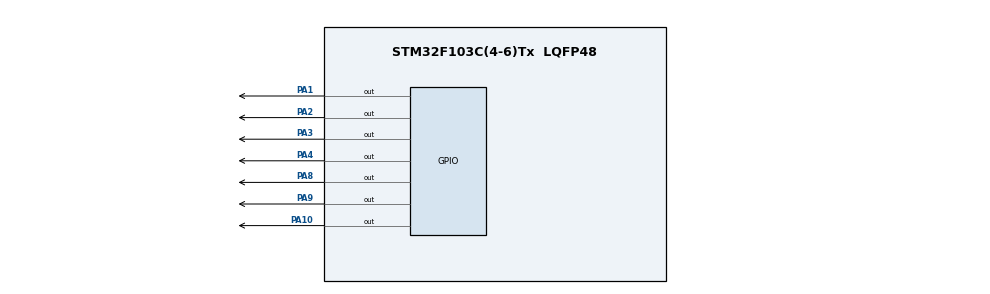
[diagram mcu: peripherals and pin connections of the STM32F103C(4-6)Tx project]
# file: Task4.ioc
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Mcu.Family=STM32F1
Mcu.Name=STM32F103C(4-6)Tx
Mcu.Package=LQFP48
NVIC.PriorityGroup=NVIC_PRIORITYGROUP_4
PA1.Signal=GPIO_Output
PA10.Signal=GPIO_Output
PA2.Signal=GPIO_Output
PA3.Signal=GPIO_Output
PA4.Signal=GPIO_Output
PA8.Signal=GPIO_Output
PA9.Signal=GPIO_Output
ProjectManager.HeapSize=0x200
ProjectManager.StackSize=0x400
ProjectManager.TargetToolchain=STM32CubeIDE
RCC.APB1Freq_Value=8000000
RCC.APB2Freq_Value=8000000
VP_SYS_VS_ND.Mode=No_Debug
board=custom

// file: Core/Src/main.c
/* USER CODE BEGIN Header */
/**
  ******************************************************************************
  * @file           : main.c
  * @brief          : Main program body
  ******************************************************************************
  * @attention
  *
  * <h2><center>&copy; Copyright (c) 2022 STMicroelectronics.
  * All rights reserved.</center></h2>
  *
  * This software component is licensed by ST under BSD 3-Clause license,
  * the "License"; You may not use this file except in compliance with the
  * License. You may obtain a copy of the License at:
  *                        opensource.org/licenses/BSD-3-Clause
  *
  ******************************************************************************
  */
/* USER CODE END Header */
#include "main.h"

void SystemClock_Config(void);
static void MX_GPIO_Init(void);

int main(void)
{

  /* MCU Configuration--------------------------------------------------------*/

  /* Reset of all peripherals, Initializes the Flash interface and the Systick. */
  HAL_Init();

  /* Configure the system clock */
  SystemClock_Config();

  /* Initialize all configured peripherals */
  MX_GPIO_Init();

  /* Infinite loop */
  /* USER CODE BEGIN WHILE */
 void  display7SEG(int num)
  {
	 // Number 0
	 if(num==0)
	 {
	      HAL_GPIO_WritePin(GPIOA, GPIO_PIN_1, RESET);          //a
	  	  HAL_GPIO_WritePin(GPIOA, GPIO_PIN_2, RESET);      //b
	  	  HAL_GPIO_WritePin(GPIOA, GPIO_PIN_3, RESET);     //c
	  	  HAL_GPIO_WritePin(GPIOA, GPIO_PIN_4, RESET);     //d
	  	  HAL_GPIO_WritePin(GPIOA, GPIO_PIN_8, RESET);     //e
	  	  HAL_GPIO_WritePin(GPIOA, GPIO_PIN_9, RESET);     //f
	  	  HAL_GPIO_WritePin(GPIOA, GPIO_PIN_10, SET);    //g
	 }
	 if(num==1)
	 {
		 // Number 1
			 	      HAL_GPIO_WritePin(GPIOA, GPIO_PIN_1, SET);          //a
			 	  	  HAL_GPIO_WritePin(GPIOA, GPIO_PIN_2, RESET);      //b
			 	  	  HAL_GPIO_WritePin(GPIOA, GPIO_PIN_3, RESET);     //c
			 	  	  HAL_GPIO_WritePin(GPIOA, GPIO_PIN_4, SET);     //d
			 	  	  HAL_GPIO_WritePin(GPIOA, GPIO_PIN_8, SET);     //e
			 	  	  HAL_GPIO_WritePin(GPIOA, GPIO_PIN_9, SET);     //f
			 	  	  HAL_GPIO_WritePin(GPIOA, GPIO_PIN_10, SET);    //g
	 }
	 if(num==2)
	 {
		 // Number 2
		 	 	  	 HAL_GPIO_WritePin(GPIOA, GPIO_PIN_1, 0);          //a
		 	 	  	 HAL_GPIO_WritePin(GPIOA, GPIO_PIN_2, 0);      //b
		 	 	  	 HAL_GPIO_WritePin(GPIOA, GPIO_PIN_3, 1);     //c
		 	 	  	 HAL_GPIO_WritePin(GPIOA, GPIO_PIN_4, 0);     //d
		 	 	  	 HAL_GPIO_WritePin(GPIOA, GPIO_PIN_8, 0);     //e
		 	 	  	 HAL_GPIO_WritePin(GPIOA, GPIO_PIN_9, 1);     //f
		 	 	  	 HAL_GPIO_WritePin(GPIOA, GPIO_PIN_10, 0);    //g
	 }
	 if(num==3)
	 {
		 // Number 3
			 	  	HAL_GPIO_WritePin(GPIOA, GPIO_PIN_1, 0);          //a
			 	    HAL_GPIO_WritePin(GPIOA, GPIO_PIN_2, 0);      //b
			 	  	HAL_GPIO_WritePin(GPIOA, GPIO_PIN_3, 0);     //c
			 	  	HAL_GPIO_WritePin(GPIOA, GPIO_PIN_4, 0);     //d
			 	  	HAL_GPIO_WritePin(GPIOA, GPIO_PIN_8, 1);     //e
			 	  	HAL_GPIO_WritePin(GPIOA, GPIO_PIN_9, 1);     //f
			 	  	HAL_GPIO_WritePin(GPIOA, GPIO_PIN_10, 0);    //g
	 }
	 if(num==4)
	 {
		 // Number 4
		 HAL_GPIO_WritePin(GPIOA, GPIO_PIN_1, 1);          //a
		 HAL_GPIO_WritePin(GPIOA, GPIO_PIN_2, 0);      //b
		 HAL_GPIO_WritePin(GPIOA, GPIO_PIN_3, 0);     //c
		 HAL_GPIO_WritePin(GPIOA, GPIO_PIN_4, 1);     //d
		 HAL_GPIO_WritePin(GPIOA, GPIO_PIN_8, 1);     //e
		 HAL_GPIO_WritePin(GPIOA, GPIO_PIN_9, 0);     //f
		 HAL_GPIO_WritePin(GPIOA, GPIO_PIN_10, 0);    //g
	 }
	 if(num==5)
	 {
		 // Number 5
		HAL_GPIO_WritePin(GPIOA, GPIO_PIN_1, 0);          //a
		HAL_GPIO_WritePin(GPIOA, GPIO_PIN_2, 1);      //b
		HAL_GPIO_WritePin(GPIOA, GPIO_PIN_3, 0);     //c
		HAL_GPIO_WritePin(GPIOA, GPIO_PIN_4, 0);     //d
		HAL_GPIO_WritePin(GPIOA, GPIO_PIN_8, 1);     //e
		HAL_GPIO_WritePin(GPIOA, GPIO_PIN_9, 0);     //f
	    HAL_GPIO_WritePin(GPIOA, GPIO_PIN_10, 0);    //g
	 }
	 if(num==6)
	 {
		 // Number 6
		 HAL_GPIO_WritePin(GPIOA, GPIO_PIN_1, 0);          //a
		 HAL_GPIO_WritePin(GPIOA, GPIO_PIN_2, 1);      //b
		 HAL_GPIO_WritePin(GPIOA, GPIO_PIN_3, 0);     //c
		 HAL_GPIO_WritePin(GPIOA, GPIO_PIN_4, 0);     //d
		 HAL_GPIO_WritePin(GPIOA, GPIO_PIN_8, 0);     //e
		 HAL_GPIO_WritePin(GPIOA, GPIO_PIN_9, 0);     //f
		 HAL_GPIO_WritePin(GPIOA, GPIO_PIN_10, 0);    //g
	 }
	 if(num==7)
	 {
		 // Number 7
		 HAL_GPIO_WritePin(GPIOA, GPIO_PIN_1, 0);          //a
		 HAL_GPIO_WritePin(GPIOA, GPIO_PIN_2, 0);      //b
		 HAL_GPIO_WritePin(GPIOA, GPIO_PIN_3, 0);     //c
		 HAL_GPIO_WritePin(GPIOA, GPIO_PIN_4, 1);     //d
		 HAL_GPIO_WritePin(GPIOA, GPIO_PIN_8, 1);     //e
		 HAL_GPIO_WritePin(GPIOA, GPIO_PIN_9, 1);     //f
		 HAL_GPIO_WritePin(GPIOA, GPIO_PIN_10, 1);    //g
	 }
	 if(num==8)
	 {
		  // Number 8
		HAL_GPIO_WritePin(GPIOA, GPIO_PIN_1, 0);          //a
		HAL_GPIO_WritePin(GPIOA, GPIO_PIN_2, 0);      //b
		HAL_GPIO_WritePin(GPIOA, GPIO_PIN_3, 0);     //c
		HAL_GPIO_WritePin(GPIOA, GPIO_PIN_4, 0);     //d
		HAL_GPIO_WritePin(GPIOA, GPIO_PIN_8, 0);     //e
		HAL_GPIO_WritePin(GPIOA, GPIO_PIN_9, 0);     //f
		HAL_GPIO_WritePin(GPIOA, GPIO_PIN_10, 0);    //g
	 }
	 if(num==9)
	 {
		 // Number 9
 	   	HAL_GPIO_WritePin(GPIOA, GPIO_PIN_1, 0);          //a
 	   	HAL_GPIO_WritePin(GPIOA, GPIO_PIN_2, 0);      //b
 	   	HAL_GPIO_WritePin(GPIOA, GPIO_PIN_3, 0);     //c
 	   	HAL_GPIO_WritePin(GPIOA, GPIO_PIN_4, 0);     //d
 	   	HAL_GPIO_WritePin(GPIOA, GPIO_PIN_8, 1);     //e
 	   	HAL_GPIO_WritePin(GPIOA, GPIO_PIN_9, 0);     //f
 	   	HAL_GPIO_WritePin(GPIOA, GPIO_PIN_10, 0);    //g
	 }
	 HAL_Delay(1000);
  }
 int counter = 0;
  while (1)
  {
	  //0 : LED ON = RESET
	  //1: LED OFF = SET
    /* USER CODE END WHILE */
	  if (counter >=10)
	  {
		  counter = 0;
	  }
	  display7SEG(counter++);
	 // HAL_Delay(1000);
  }
}

void SystemClock_Config(void)
{
  RCC_OscInitTypeDef RCC_OscInitStruct = {0};
  RCC_ClkInitTypeDef RCC_ClkInitStruct = {0};

  /** Initializes the RCC Oscillators according to the specified parameters
  * in the RCC_OscInitTypeDef structure.
  */
  RCC_OscInitStruct.OscillatorType = RCC_OSCILLATORTYPE_HSI;
  RCC_OscInitStruct.HSIState = RCC_HSI_ON;
  RCC_OscInitStruct.HSICalibrationValue = RCC_HSICALIBRATION_DEFAULT;
  RCC_OscInitStruct.PLL.PLLState = RCC_PLL_NONE;
  if (HAL_RCC_OscConfig(&RCC_OscInitStruct) != HAL_OK)
  {
    Error_Handler();
  }
  /** Initializes the CPU, AHB and APB buses clocks
  */
  RCC_ClkInitStruct.ClockType = RCC_CLOCKTYPE_HCLK|RCC_CLOCKTYPE_SYSCLK
                              |RCC_CLOCKTYPE_PCLK1|RCC_CLOCKTYPE_PCLK2;
  RCC_ClkInitStruct.SYSCLKSource = RCC_SYSCLKSOURCE_HSI;
  RCC_ClkInitStruct.AHBCLKDivider = RCC_SYSCLK_DIV1;
  RCC_ClkInitStruct.APB1CLKDivider = RCC_HCLK_DIV1;
  RCC_ClkInitStruct.APB2CLKDivider = RCC_HCLK_DIV1;

  if (HAL_RCC_ClockConfig(&RCC_ClkInitStruct, FLASH_LATENCY_0) != HAL_OK)
  {
    Error_Handler();
  }
}

static void MX_GPIO_Init(void)
{
  GPIO_InitTypeDef GPIO_InitStruct = {0};

  /* GPIO Ports Clock Enable */
  __HAL_RCC_GPIOA_CLK_ENABLE();

  /*Configure GPIO pin Output Level */
  HAL_GPIO_WritePin(GPIOA, GPIO_PIN_1|GPIO_PIN_2|GPIO_PIN_3|GPIO_PIN_4
                          |GPIO_PIN_8|GPIO_PIN_9|GPIO_PIN_10, GPIO_PIN_RESET);

  /*Configure GPIO pins : PA1 PA2 PA3 PA4
                           PA8 PA9 PA10 */
  GPIO_InitStruct.Pin = GPIO_PIN_1|GPIO_PIN_2|GPIO_PIN_3|GPIO_PIN_4
                          |GPIO_PIN_8|GPIO_PIN_9|GPIO_PIN_10;
  GPIO_InitStruct.Mode = GPIO_MODE_OUTPUT_PP;
  GPIO_InitStruct.Pull = GPIO_NOPULL;
  GPIO_InitStruct.Speed = GPIO_SPEED_FREQ_LOW;
  HAL_GPIO_Init(GPIOA, &GPIO_InitStruct);

}

void Error_Handler(void)
{
  __disable_irq();
  while (1)
  {
  }
}

/************************ (C) COPYRIGHT STMicroelectronics *****END OF FILE****/
